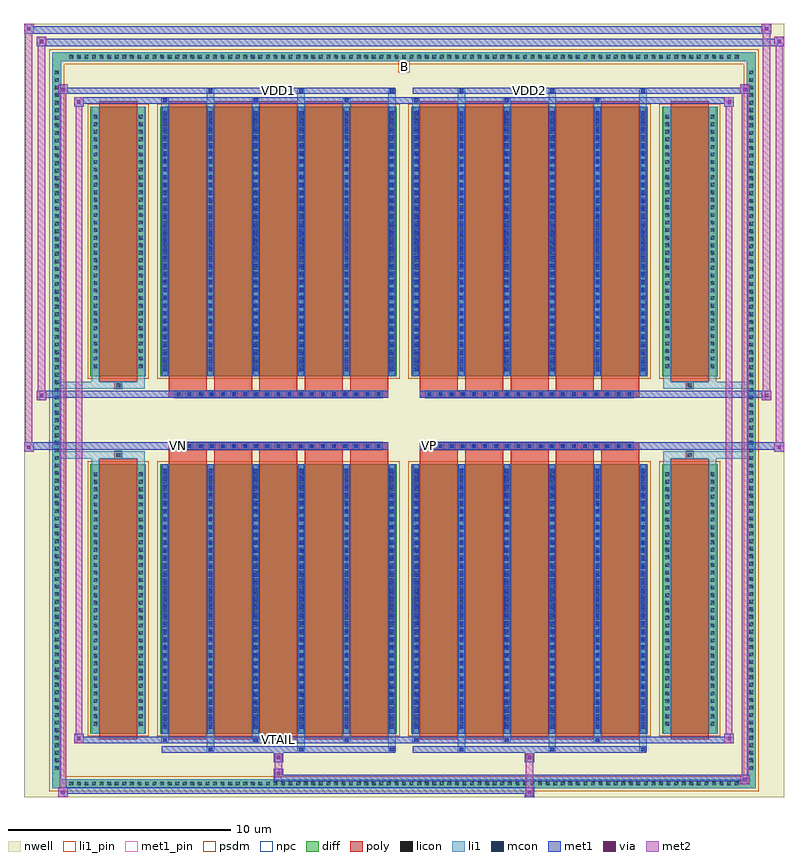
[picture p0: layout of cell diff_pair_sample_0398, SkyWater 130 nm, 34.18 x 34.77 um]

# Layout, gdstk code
import gdstk
lib = gdstk.Library(unit=1e-6, precision=5e-09)
def R(c, l, rs):  # rectangles x0, y0, x1, y1
    for r in rs: c.add(gdstk.rectangle(r[:2], r[2:], *l))
def A(c, l, x, y, w, h, nx, ny, dx, dy):  # array of equal rectangles
    R(c, l, [(x+i*dx, y+j*dy, x+i*dx+w, y+j*dy+h) for i in range(nx) for j in range(ny)])
def P(c, l, *ps):  # polygons
    for p in ps: c.add(gdstk.Polygon(p, *l))
nwell = (64, 20)
diff = (65, 20)
poly = (66, 20)
licon = (66, 44)
li1_pin = (67, 16)
li1 = (67, 20)
mcon = (67, 44)
met1_pin = (68, 16)
met1 = (68, 20)
via = (68, 44)
met2 = (69, 20)
psdm = (94, 20)
npc = (95, 20)

diff_pair_sample_0398 = lib.new_cell('diff_pair_sample_0398')
R(diff_pair_sample_0398, nwell, [(-17.09,-16.95,17.09,17.82), (-14.41,-15.14,-0.01,-0.8), (0.01,-15.14,14.41,-0.8), (-14.41,0.8,-0.01,15.14), (0.01,0.8,14.41,15.14)])
A(diff_pair_sample_0398, diff, -15.165, -16.55, 0.41, 0.41, 89, 2, 0.34, 32.69)
A(diff_pair_sample_0398, diff, -15.82, -15.845, 0.41, 0.41, 1, 93, 0, 0.34)
A(diff_pair_sample_0398, diff, 15.41, -15.845, 0.41, 0.41, 1, 93, 0, 0.34)
R(diff_pair_sample_0398, diff, [(-15.165,-16.55,15.165,-16.14), (-15.82,-15.845,-15.41,15.845), (15.41,-15.845,15.82,15.845), (-14.1,-14.095,-11.61,-1.985), (-10.97,-14.095,-0.32,-1.985), (0.32,-14.095,10.97,-1.985), (11.61,-14.095,14.1,-1.985), (-14.1,1.985,-11.61,14.095), (-10.97,1.985,-0.32,14.095), (0.32,1.985,10.97,14.095), (11.61,1.985,14.1,14.095), (-15.165,16.14,15.165,16.55)])
P(diff_pair_sample_0398, diff, [(15.82,16.55),(-15.82,16.55),(-15.82,-16.14),(-15.41,-16.14),(-15.41,16.14),(15.41,16.14),(15.41,-16.14),(-15.41,-16.14),(-15.82,-16.14),(-15.82,-16.55),(15.82,-16.55)])
A(diff_pair_sample_0398, poly, -10.58, -14.345, 1.71, 12.61, 5, 2, 2.04, 16.08)
A(diff_pair_sample_0398, poly, 0.71, -14.345, 1.71, 12.61, 5, 2, 2.04, 16.08)
A(diff_pair_sample_0398, poly, -10.58, -1.735, 1.71, 0.405, 5, 2, 2.04, 3.065)
A(diff_pair_sample_0398, poly, 0.71, -1.735, 1.71, 0.405, 5, 2, 2.04, 3.065)
A(diff_pair_sample_0398, poly, -10.31, -1.33, 0.33, 0.33, 19, 2, 0.5, 2.33)
A(diff_pair_sample_0398, poly, 0.98, -1.33, 0.33, 0.33, 19, 2, 0.5, 2.33)
R(diff_pair_sample_0398, poly, [(-13.71,-14.345,-12,-1.735), (12,-14.345,13.71,-1.735), (-13.02,-1.735,-12.69,-1.405), (-13.02,-1.735,-12.69,-1.405), (12.69,-1.735,13.02,-1.405), (12.69,-1.735,13.02,-1.405), (-10.58,-1.33,-0.71,-1), (0.71,-1.33,10.58,-1), (-10.58,1,-0.71,1.33), (0.71,1,10.58,1.33), (-13.02,1.405,-12.69,1.735), (-13.02,1.405,-12.69,1.735), (12.69,1.405,13.02,1.735), (12.69,1.405,13.02,1.735), (-13.71,1.735,-12,14.345), (12,1.735,13.71,14.345)])
A(diff_pair_sample_0398, licon, -15.045, -16.43, 0.17, 0.17, 89, 2, 0.34, 32.69)
A(diff_pair_sample_0398, licon, -15.7, -15.725, 0.17, 0.17, 1, 93, 0, 0.34)
A(diff_pair_sample_0398, licon, 15.53, -15.725, 0.17, 0.17, 1, 93, 0, 0.34)
A(diff_pair_sample_0398, licon, -13.96, -13.735, 0.17, 0.17, 1, 34, 0, 0.34)
A(diff_pair_sample_0398, licon, -11.92, -13.735, 0.17, 0.17, 1, 34, 0, 0.34)
A(diff_pair_sample_0398, licon, -10.83, -13.735, 0.17, 0.17, 6, 34, 2.04, 0.34)
A(diff_pair_sample_0398, licon, 0.46, -13.735, 0.17, 0.17, 6, 34, 2.04, 0.34)
A(diff_pair_sample_0398, licon, 11.75, -13.735, 0.17, 0.17, 1, 34, 0, 0.34)
A(diff_pair_sample_0398, licon, 13.79, -13.735, 0.17, 0.17, 1, 34, 0, 0.34)
A(diff_pair_sample_0398, licon, -10.23, -1.25, 0.17, 0.17, 19, 2, 0.5, 2.33)
A(diff_pair_sample_0398, licon, 1.06, -1.25, 0.17, 0.17, 19, 2, 0.5, 2.33)
A(diff_pair_sample_0398, licon, -13.96, 2.345, 0.17, 0.17, 1, 34, 0, 0.34)
A(diff_pair_sample_0398, licon, -11.92, 2.345, 0.17, 0.17, 1, 34, 0, 0.34)
A(diff_pair_sample_0398, licon, -10.83, 2.345, 0.17, 0.17, 6, 34, 2.04, 0.34)
A(diff_pair_sample_0398, licon, 0.46, 2.345, 0.17, 0.17, 6, 34, 2.04, 0.34)
A(diff_pair_sample_0398, licon, 11.75, 2.345, 0.17, 0.17, 1, 34, 0, 0.34)
A(diff_pair_sample_0398, licon, 13.79, 2.345, 0.17, 0.17, 1, 34, 0, 0.34)
R(diff_pair_sample_0398, licon, [(-12.94,-1.655,-12.77,-1.485), (12.77,-1.655,12.94,-1.485), (-12.94,1.485,-12.77,1.655), (12.77,1.485,12.94,1.655)])
R(diff_pair_sample_0398, li1_pin, [(-0.25,15.64,0.25,16.14)])
A(diff_pair_sample_0398, li1, -15.125, -16.51, 0.33, 0.33, 89, 2, 0.34, 32.69)
A(diff_pair_sample_0398, li1, -15.78, -15.805, 0.33, 0.33, 1, 93, 0, 0.34)
A(diff_pair_sample_0398, li1, 15.45, -15.805, 0.33, 0.33, 1, 93, 0, 0.34)
A(diff_pair_sample_0398, li1, -8.87, -14.9, 0.33, 0.805, 3, 2, 4.08, 28.995)
A(diff_pair_sample_0398, li1, -8.79, -14.9, 0.17, 0.17, 3, 2, 4.08, 29.63)
A(diff_pair_sample_0398, li1, 2.42, -14.9, 0.33, 0.805, 3, 2, 4.08, 28.995)
A(diff_pair_sample_0398, li1, 2.5, -14.9, 0.17, 0.17, 3, 2, 4.08, 29.63)
A(diff_pair_sample_0398, li1, -10.91, -14.47, 0.33, 0.375, 3, 2, 4.08, 28.565)
A(diff_pair_sample_0398, li1, -10.83, -14.47, 0.17, 0.17, 3, 2, 4.08, 28.77)
A(diff_pair_sample_0398, li1, 0.38, -14.47, 0.33, 0.375, 3, 2, 4.08, 28.565)
A(diff_pair_sample_0398, li1, 0.46, -14.47, 0.17, 0.17, 3, 2, 4.08, 28.77)
A(diff_pair_sample_0398, li1, -10.91, -14.095, 0.33, 12.11, 6, 2, 2.04, 16.08)
A(diff_pair_sample_0398, li1, 0.38, -14.095, 0.33, 12.11, 6, 2, 2.04, 16.08)
A(diff_pair_sample_0398, li1, -10.83, -13.885, 0.17, 0.17, 6, 33, 2.04, 0.36)
A(diff_pair_sample_0398, li1, -10.83, -13.885, 0.17, 11.69, 6, 2, 2.04, 16.08)
A(diff_pair_sample_0398, li1, 0.46, -13.885, 0.17, 0.17, 6, 33, 2.04, 0.36)
A(diff_pair_sample_0398, li1, 0.46, -13.885, 0.17, 11.69, 6, 2, 2.04, 16.08)
A(diff_pair_sample_0398, li1, -14.04, -13.815, 0.33, 0.33, 1, 34, 0, 0.34)
A(diff_pair_sample_0398, li1, -12, -13.815, 0.33, 0.33, 1, 34, 0, 0.34)
A(diff_pair_sample_0398, li1, -10.91, -13.815, 0.33, 0.33, 6, 34, 2.04, 0.34)
A(diff_pair_sample_0398, li1, 0.38, -13.815, 0.33, 0.33, 6, 34, 2.04, 0.34)
A(diff_pair_sample_0398, li1, 11.67, -13.815, 0.33, 0.33, 1, 34, 0, 0.34)
A(diff_pair_sample_0398, li1, 13.71, -13.815, 0.33, 0.33, 1, 34, 0, 0.34)
A(diff_pair_sample_0398, li1, -10.31, -1.33, 0.33, 0.33, 19, 2, 0.5, 2.33)
A(diff_pair_sample_0398, li1, 0.98, -1.33, 0.33, 0.33, 19, 2, 0.5, 2.33)
A(diff_pair_sample_0398, li1, -10.83, 2.195, 0.17, 0.17, 6, 33, 2.04, 0.36)
A(diff_pair_sample_0398, li1, 0.46, 2.195, 0.17, 0.17, 6, 33, 2.04, 0.36)
A(diff_pair_sample_0398, li1, -14.04, 2.265, 0.33, 0.33, 1, 34, 0, 0.34)
A(diff_pair_sample_0398, li1, -12, 2.265, 0.33, 0.33, 1, 34, 0, 0.34)
A(diff_pair_sample_0398, li1, -10.91, 2.265, 0.33, 0.33, 6, 34, 2.04, 0.34)
A(diff_pair_sample_0398, li1, 0.38, 2.265, 0.33, 0.33, 6, 34, 2.04, 0.34)
A(diff_pair_sample_0398, li1, 11.67, 2.265, 0.33, 0.33, 1, 34, 0, 0.34)
A(diff_pair_sample_0398, li1, 13.71, 2.265, 0.33, 0.33, 1, 34, 0, 0.34)
R(diff_pair_sample_0398, li1, [(-15.82,-16.55,-15.41,-16.14), (-15.82,-16.55,-15.41,-16.14), (-15.41,-16.55,15.41,-16.14), (15.41,-16.55,15.82,-16.14), (15.41,-16.55,15.82,-16.14), (-15.82,-16.14,-15.41,16.14), (15.41,-16.14,15.82,16.14), (-14.04,-14.095,-13.71,-1.985), (-12,-14.095,-11.67,-1.985), (11.67,-14.095,12,-1.985), (13.71,-14.095,14.04,-1.985), (-14.04,-1.985,-13.71,-1.405), (-12,-1.985,-11.67,-1.405), (11.67,-1.985,12,-1.405), (13.71,-1.985,14.04,-1.405), (-15.82,-1.735,-13.02,-1.405), (-14.04,-1.735,-13.02,-1.405), (-13.02,-1.735,-12.69,-1.405), (-12.69,-1.735,-11.67,-1.405), (11.67,-1.735,12.69,-1.405), (12.69,-1.735,13.02,-1.405), (12.69,-1.735,15.82,-1.405), (13.02,-1.735,14.04,-1.405), (-15.82,1.405,-13.02,1.735), (-14.04,1.405,-13.02,1.735), (-14.04,1.405,-13.71,1.985), (-13.02,1.405,-12.69,1.735), (-12.69,1.405,-11.67,1.735), (-12,1.405,-11.67,1.985), (11.67,1.405,12.69,1.735), (11.67,1.405,12,1.985), (12.69,1.405,13.02,1.735), (12.69,1.405,15.82,1.735), (13.02,1.405,14.04,1.735), (13.71,1.405,14.04,1.985), (-14.04,1.985,-13.71,14.095), (-12,1.985,-11.67,14.095), (11.67,1.985,12,14.095), (13.71,1.985,14.04,14.095), (-15.82,16.14,-15.41,16.55), (-15.82,16.14,-15.41,16.55), (-15.41,16.14,15.41,16.55), (15.41,16.14,15.82,16.55), (15.41,16.14,15.82,16.55)])
A(diff_pair_sample_0398, mcon, -8.79, -14.9, 0.17, 0.17, 3, 2, 4.08, 29.63)
A(diff_pair_sample_0398, mcon, 2.5, -14.9, 0.17, 0.17, 3, 2, 4.08, 29.63)
A(diff_pair_sample_0398, mcon, -10.83, -14.47, 0.17, 0.17, 3, 2, 4.08, 28.77)
A(diff_pair_sample_0398, mcon, 0.46, -14.47, 0.17, 0.17, 3, 2, 4.08, 28.77)
A(diff_pair_sample_0398, mcon, -10.83, -13.885, 0.17, 0.17, 6, 33, 2.04, 0.36)
A(diff_pair_sample_0398, mcon, 0.46, -13.885, 0.17, 0.17, 6, 33, 2.04, 0.36)
A(diff_pair_sample_0398, mcon, -10.23, -1.25, 0.17, 0.17, 19, 2, 0.5, 2.33)
A(diff_pair_sample_0398, mcon, 1.06, -1.25, 0.17, 0.17, 19, 2, 0.5, 2.33)
A(diff_pair_sample_0398, mcon, -10.83, 2.195, 0.17, 0.17, 6, 33, 2.04, 0.36)
A(diff_pair_sample_0398, mcon, 0.46, 2.195, 0.17, 0.17, 6, 33, 2.04, 0.36)
R(diff_pair_sample_0398, met1_pin, [(-5.78,-14.51,-5.51,-14.24), (-10.28,-1.29,-10.01,-1.02), (1.01,-1.29,1.28,-1.02), (-5.78,14.69,-5.51,14.96), (5.51,14.69,5.78,14.96)])
A(diff_pair_sample_0398, met1, -8.85, -14.96, 0.29, 0.29, 3, 2, 4.08, 29.63)
A(diff_pair_sample_0398, met1, 2.44, -14.96, 0.29, 0.29, 3, 2, 4.08, 29.63)
A(diff_pair_sample_0398, met1, -10.89, -14.53, 0.29, 0.29, 3, 2, 4.08, 28.77)
A(diff_pair_sample_0398, met1, 0.4, -14.53, 0.29, 0.29, 3, 2, 4.08, 28.77)
A(diff_pair_sample_0398, met1, -10.89, -14.095, 0.29, 12.11, 6, 2, 2.04, 16.08)
A(diff_pair_sample_0398, met1, 0.4, -14.095, 0.29, 12.11, 6, 2, 2.04, 16.08)
A(diff_pair_sample_0398, met1, -10.89, -13.945, 0.29, 0.29, 6, 33, 2.04, 0.36)
A(diff_pair_sample_0398, met1, 0.4, -13.945, 0.29, 0.29, 6, 33, 2.04, 0.36)
A(diff_pair_sample_0398, met1, -10.29, -1.31, 0.29, 0.29, 19, 2, 0.5, 2.33)
A(diff_pair_sample_0398, met1, 1, -1.31, 0.29, 0.29, 19, 2, 0.5, 2.33)
A(diff_pair_sample_0398, met1, -10.89, 2.135, 0.29, 0.29, 6, 33, 2.04, 0.36)
A(diff_pair_sample_0398, met1, 0.4, 2.135, 0.29, 0.29, 6, 33, 2.04, 0.36)
R(diff_pair_sample_0398, met1, [(-15.55,-16.95,-15.12,-16.52), (5.43,-16.95,5.86,-16.52), (-15.55,-16.81,5.86,-16.52), (15.12,-16.38,15.55,-15.95), (-5.86,-16.24,15.55,-15.95), (-5.86,-16.1,-5.43,-15.67), (-5.86,-15.39,-5.43,-14.96), (5.43,-15.39,5.86,-14.96), (-10.89,-14.96,-0.4,-14.67), (0.4,-14.96,10.89,-14.67), (-14.84,-14.53,-14.41,-14.1), (-14.84,-14.53,-10.89,-14.24), (-10.89,-14.53,-0.4,-14.24), (-0.4,-14.53,0.4,-14.24), (0.4,-14.53,10.89,-14.24), (10.89,-14.53,14.84,-14.24), (14.41,-14.53,14.84,-14.1), (-17.09,-1.43,-16.66,-1), (16.66,-1.43,17.09,-1), (-17.09,-1.33,-0.71,-1), (-10.58,-1.33,-0.71,-1), (0.71,-1.33,10.58,-1), (0.71,-1.33,17.09,-1), (-16.52,0.9,-16.09,1.33), (16.09,0.9,16.52,1.33), (-16.52,1,-10.58,1.33), (-10.58,1,-0.71,1.33), (0.71,1,10.58,1.33), (10.58,1,16.52,1.33), (-14.84,14.1,-14.41,14.53), (14.41,14.1,14.84,14.53), (-14.84,14.24,-10.89,14.53), (-10.89,14.24,-0.4,14.53), (-0.4,14.24,0.4,14.53), (0.4,14.24,10.89,14.53), (10.89,14.24,14.84,14.53), (-15.55,14.67,-15.12,15.1), (-15.55,14.67,-10.89,14.96), (-10.89,14.67,-0.4,14.96), (0.4,14.67,10.89,14.96), (10.89,14.67,15.55,14.96), (15.12,14.67,15.55,15.1), (-16.52,16.82,-16.09,17.25), (-16.52,16.82,-14.41,17.15), (-14.41,16.82,14.41,17.15), (14.41,16.82,17.09,17.15), (16.66,16.82,17.09,17.25), (-17.09,17.39,-16.66,17.82), (-17.09,17.39,-14.41,17.72), (-14.41,17.39,14.41,17.72), (14.41,17.39,16.52,17.72), (16.09,17.39,16.52,17.82)])
R(diff_pair_sample_0398, via, [(-15.41,-16.81,-15.26,-16.66), (5.57,-16.81,5.72,-16.66), (15.26,-16.24,15.41,-16.09), (-5.72,-15.96,-5.57,-15.81), (-5.72,-15.25,-5.57,-15.1), (5.57,-15.25,5.72,-15.1), (-14.7,-14.39,-14.55,-14.24), (14.55,-14.39,14.7,-14.24), (-16.95,-1.29,-16.8,-1.14), (16.8,-1.29,16.95,-1.14), (-16.38,1.04,-16.23,1.19), (16.23,1.04,16.38,1.19), (-14.7,14.24,-14.55,14.39), (14.55,14.24,14.7,14.39), (-15.41,14.81,-15.26,14.96), (15.26,14.81,15.41,14.96), (-16.38,16.96,-16.23,17.11), (16.8,16.96,16.95,17.11), (-16.95,17.53,-16.8,17.68), (16.23,17.53,16.38,17.68)])
R(diff_pair_sample_0398, met2, [(-15.55,-16.95,-15.12,-16.52), (-15.48,-16.95,-15.19,15.1), (-15.19,-16.95,-15.12,-16.52), (-15.5,-16.9,-15.17,-16.57), (5.48,-16.9,5.81,-16.57), (5.48,-16.57,5.81,-15.34), (15.12,-16.38,15.55,-15.95), (15.19,-16.38,15.48,15.1), (15.48,-16.38,15.55,-15.95), (15.17,-16.33,15.5,-16), (-5.81,-16.05,-5.48,-15.72), (-5.81,-15.72,-5.48,-15.34), (-5.81,-15.34,-5.48,-15.01), (5.48,-15.34,5.81,-15.01), (-14.84,-14.53,-14.41,-14.1), (-14.77,-14.53,-14.48,14.53), (-14.48,-14.53,-14.41,-14.1), (14.41,-14.53,14.84,-14.1), (14.48,-14.53,14.77,14.53), (14.77,-14.53,14.84,-14.1), (-14.79,-14.48,-14.46,-14.15), (14.46,-14.48,14.79,-14.15), (-17.09,-1.43,-16.66,-1), (-17.04,-1.43,-16.71,17.82), (-16.71,-1.43,-16.66,-1), (16.66,-1.43,17.09,-1), (16.71,-1.43,17.04,17.25), (17.04,-1.43,17.09,-1), (-17.04,-1.38,-16.71,-1.05), (16.71,-1.38,17.04,-1.05), (-16.52,0.9,-16.09,1.33), (-16.47,0.9,-16.14,17.25), (-16.14,0.9,-16.09,1.33), (16.09,0.9,16.52,1.33), (16.14,0.9,16.47,17.82), (16.47,0.9,16.52,1.33), (-16.47,0.95,-16.14,1.28), (16.14,0.95,16.47,1.28), (-14.84,14.1,-14.41,14.53), (-14.48,14.1,-14.41,14.53), (14.41,14.1,14.84,14.53), (14.77,14.1,14.84,14.53), (-14.79,14.15,-14.46,14.48), (14.46,14.15,14.79,14.48), (-15.55,14.67,-15.12,15.1), (-15.19,14.67,-15.12,15.1), (15.12,14.67,15.55,15.1), (15.48,14.67,15.55,15.1), (-15.5,14.72,-15.17,15.05), (15.17,14.72,15.5,15.05), (-16.52,16.82,-16.09,17.25), (-16.14,16.82,-16.09,17.25), (16.66,16.82,17.09,17.25), (17.04,16.82,17.09,17.25), (-16.47,16.87,-16.14,17.2), (16.71,16.87,17.04,17.2), (-17.09,17.39,-16.66,17.82), (-16.71,17.39,-16.66,17.82), (16.09,17.39,16.52,17.82), (16.47,17.39,16.52,17.82), (-17.04,17.44,-16.71,17.77), (16.14,17.44,16.47,17.77)])
R(diff_pair_sample_0398, psdm, [(-14.23,-14.225,-11.48,-1.855), (-11.1,-14.225,-0.19,-1.855), (0.19,-14.225,11.1,-1.855), (11.48,-14.225,14.23,-1.855), (-14.23,1.855,-11.48,14.225), (-11.1,1.855,-0.19,14.225), (0.19,1.855,11.1,14.225), (11.48,1.855,14.23,14.225)])
P(diff_pair_sample_0398, psdm, [(15.95,16.68),(-15.95,16.68),(-15.95,-16.01),(-15.28,-16.01),(-15.28,16.01),(15.28,16.01),(15.28,-16.01),(-15.28,-16.01),(-15.95,-16.01),(-15.95,-16.68),(15.95,-16.68)])
A(diff_pair_sample_0398, npc, -10.33, -1.35, 0.37, 0.37, 19, 2, 0.5, 2.33)
A(diff_pair_sample_0398, npc, 0.96, -1.35, 0.37, 0.37, 19, 2, 0.5, 2.33)
R(diff_pair_sample_0398, npc, [(-13.04,-1.755,-12.67,-1.385), (12.67,-1.755,13.04,-1.385), (-10.33,-1.35,-9.46,-0.98), (-10.33,-1.35,-9.46,-0.98), (-9.83,-1.35,-8.96,-0.98), (-9.83,-1.35,-8.96,-0.98), (-9.33,-1.35,-8.46,-0.98), (-9.33,-1.35,-8.46,-0.98), (-8.83,-1.35,-7.96,-0.98), (-8.83,-1.35,-7.96,-0.98), (-8.33,-1.35,-7.46,-0.98), (-8.33,-1.35,-7.46,-0.98), (-7.83,-1.35,-6.96,-0.98), (-7.83,-1.35,-6.96,-0.98), (-7.33,-1.35,-6.46,-0.98), (-7.33,-1.35,-6.46,-0.98), (-6.83,-1.35,-5.96,-0.98), (-6.83,-1.35,-5.96,-0.98), (-6.33,-1.35,-5.46,-0.98), (-6.33,-1.35,-5.46,-0.98), (-5.83,-1.35,-4.96,-0.98), (-5.83,-1.35,-4.96,-0.98), (-5.33,-1.35,-4.46,-0.98), (-5.33,-1.35,-4.46,-0.98), (-4.83,-1.35,-3.96,-0.98), (-4.83,-1.35,-3.96,-0.98), (-4.33,-1.35,-3.46,-0.98), (-4.33,-1.35,-3.46,-0.98), (-3.83,-1.35,-2.96,-0.98), (-3.83,-1.35,-2.96,-0.98), (-3.33,-1.35,-2.46,-0.98), (-3.33,-1.35,-2.46,-0.98), (-2.83,-1.35,-1.96,-0.98), (-2.83,-1.35,-1.96,-0.98), (-2.33,-1.35,-1.46,-0.98), (-2.33,-1.35,-1.46,-0.98), (-1.83,-1.35,-0.96,-0.98), (-1.83,-1.35,-0.96,-0.98), (0.96,-1.35,1.83,-0.98), (0.96,-1.35,1.83,-0.98), (1.46,-1.35,2.33,-0.98), (1.46,-1.35,2.33,-0.98), (1.96,-1.35,2.83,-0.98), (1.96,-1.35,2.83,-0.98), (2.46,-1.35,3.33,-0.98), (2.46,-1.35,3.33,-0.98), (2.96,-1.35,3.83,-0.98), (2.96,-1.35,3.83,-0.98), (3.46,-1.35,4.33,-0.98), (3.46,-1.35,4.33,-0.98), (3.96,-1.35,4.83,-0.98), (3.96,-1.35,4.83,-0.98), (4.46,-1.35,5.33,-0.98), (4.46,-1.35,5.33,-0.98), (4.96,-1.35,5.83,-0.98), (4.96,-1.35,5.83,-0.98), (5.46,-1.35,6.33,-0.98), (5.46,-1.35,6.33,-0.98), (5.96,-1.35,6.83,-0.98), (5.96,-1.35,6.83,-0.98), (6.46,-1.35,7.33,-0.98), (6.46,-1.35,7.33,-0.98), (6.96,-1.35,7.83,-0.98), (6.96,-1.35,7.83,-0.98), (7.46,-1.35,8.33,-0.98), (7.46,-1.35,8.33,-0.98), (7.96,-1.35,8.83,-0.98), (7.96,-1.35,8.83,-0.98), (8.46,-1.35,9.33,-0.98), (8.46,-1.35,9.33,-0.98), (8.96,-1.35,9.83,-0.98), (8.96,-1.35,9.83,-0.98), (9.46,-1.35,10.33,-0.98), (9.46,-1.35,10.33,-0.98), (-10.33,0.98,-9.46,1.35), (-10.33,0.98,-9.46,1.35), (-9.83,0.98,-8.96,1.35), (-9.83,0.98,-8.96,1.35), (-9.33,0.98,-8.46,1.35), (-9.33,0.98,-8.46,1.35), (-8.83,0.98,-7.96,1.35), (-8.83,0.98,-7.96,1.35), (-8.33,0.98,-7.46,1.35), (-8.33,0.98,-7.46,1.35), (-7.83,0.98,-6.96,1.35), (-7.83,0.98,-6.96,1.35), (-7.33,0.98,-6.46,1.35), (-7.33,0.98,-6.46,1.35), (-6.83,0.98,-5.96,1.35), (-6.83,0.98,-5.96,1.35), (-6.33,0.98,-5.46,1.35), (-6.33,0.98,-5.46,1.35), (-5.83,0.98,-4.96,1.35), (-5.83,0.98,-4.96,1.35), (-5.33,0.98,-4.46,1.35), (-5.33,0.98,-4.46,1.35), (-4.83,0.98,-3.96,1.35), (-4.83,0.98,-3.96,1.35), (-4.33,0.98,-3.46,1.35), (-4.33,0.98,-3.46,1.35), (-3.83,0.98,-2.96,1.35), (-3.83,0.98,-2.96,1.35), (-3.33,0.98,-2.46,1.35), (-3.33,0.98,-2.46,1.35), (-2.83,0.98,-1.96,1.35), (-2.83,0.98,-1.96,1.35), (-2.33,0.98,-1.46,1.35), (-2.33,0.98,-1.46,1.35), (-1.83,0.98,-0.96,1.35), (-1.83,0.98,-0.96,1.35), (0.96,0.98,1.83,1.35), (0.96,0.98,1.83,1.35), (1.46,0.98,2.33,1.35), (1.46,0.98,2.33,1.35), (1.96,0.98,2.83,1.35), (1.96,0.98,2.83,1.35), (2.46,0.98,3.33,1.35), (2.46,0.98,3.33,1.35), (2.96,0.98,3.83,1.35), (2.96,0.98,3.83,1.35), (3.46,0.98,4.33,1.35), (3.46,0.98,4.33,1.35), (3.96,0.98,4.83,1.35), (3.96,0.98,4.83,1.35), (4.46,0.98,5.33,1.35), (4.46,0.98,5.33,1.35), (4.96,0.98,5.83,1.35), (4.96,0.98,5.83,1.35), (5.46,0.98,6.33,1.35), (5.46,0.98,6.33,1.35), (5.96,0.98,6.83,1.35), (5.96,0.98,6.83,1.35), (6.46,0.98,7.33,1.35), (6.46,0.98,7.33,1.35), (6.96,0.98,7.83,1.35), (6.96,0.98,7.83,1.35), (7.46,0.98,8.33,1.35), (7.46,0.98,8.33,1.35), (7.96,0.98,8.83,1.35), (7.96,0.98,8.83,1.35), (8.46,0.98,9.33,1.35), (8.46,0.98,9.33,1.35), (8.96,0.98,9.83,1.35), (8.96,0.98,9.83,1.35), (9.46,0.98,10.33,1.35), (9.46,0.98,10.33,1.35), (-13.04,1.385,-12.67,1.755), (12.67,1.385,13.04,1.755)])
diff_pair_sample_0398.add(gdstk.Label('VTAIL', (-5.645,-14.375), layer=68, texttype=5))
diff_pair_sample_0398.add(gdstk.Label('VN', (-10.145,-1.155), layer=68, texttype=5))
diff_pair_sample_0398.add(gdstk.Label('VP', (1.145,-1.155), layer=68, texttype=5))
diff_pair_sample_0398.add(gdstk.Label('B', (0,15.89), layer=67, texttype=5))
diff_pair_sample_0398.add(gdstk.Label('VDD2', (5.645,14.825), layer=68, texttype=5))
diff_pair_sample_0398.add(gdstk.Label('VDD1', (-5.645,14.825), layer=68, texttype=5))

lib.write_gds('diff_pair_sample_0398.gds')
